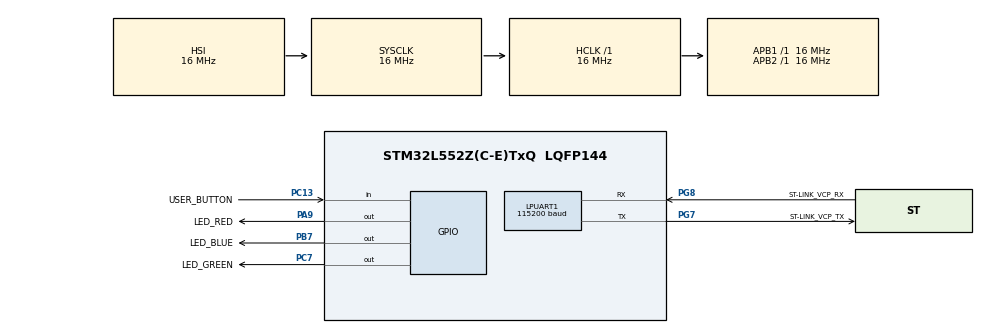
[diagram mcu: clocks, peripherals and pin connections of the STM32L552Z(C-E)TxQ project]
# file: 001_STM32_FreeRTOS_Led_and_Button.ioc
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LPUART1.BaudRate=115200
Mcu.Family=STM32L5
Mcu.Name=STM32L552Z(C-E)TxQ
Mcu.Package=LQFP144
Mcu.TrustZone=disable
NVIC.PriorityGroup=NVIC_PRIORITYGROUP_3
PA13\ (JTMS/SWDIO).Mode=Trace_Asynchronous_SW
PA13\ (JTMS/SWDIO).Signal=DEBUG_JTMS-SWDIO
PA14\ (JTCK/SWCLK).Mode=Trace_Asynchronous_SW
PA14\ (JTCK/SWCLK).Signal=DEBUG_JTCK-SWCLK
PA9.GPIO_Label=LED_RED
PA9.Signal=GPIO_Output
PB3\ (JTDO/TRACESWO).Mode=Trace_Asynchronous_SW
PB3\ (JTDO/TRACESWO).Signal=DEBUG_JTDO-SWO
PB7.GPIO_Label=LED_BLUE
PB7.Signal=GPIO_Output
PC13.GPIO_Label=USER_BUTTON
PC13.Signal=GPIO_Input
PC14-OSC32_IN\ (PC14).Mode=LSE-External-Oscillator
PC14-OSC32_IN\ (PC14).Signal=RCC_OSC32_IN
PC15-OSC32_OUT\ (PC15).Mode=LSE-External-Oscillator
PC15-OSC32_OUT\ (PC15).Signal=RCC_OSC32_OUT
PC7.GPIO_Label=LED_GREEN
PC7.Signal=GPIO_Output
PG7.GPIO_Label=ST-LINK_VCP_TX
PG7.Mode=Asynchronous
PG7.Signal=LPUART1_TX
PG8.GPIO_Label=ST-LINK_VCP_RX
PG8.Mode=Asynchronous
PG8.Signal=LPUART1_RX
ProjectManager.HeapSize=0x200
ProjectManager.StackSize=0x400
ProjectManager.TargetToolchain=STM32CubeIDE
RCC.ADCCLockSelection=RCC_ADCCLKSOURCE_SYSCLK
RCC.ADCFreq_Value=16000000
RCC.AHBFreq_Value=16000000
RCC.APB1Freq_Value=16000000
RCC.APB1TimFreq_Value=16000000
RCC.APB2Freq_Value=16000000
RCC.APB2TimFreq_Value=16000000
RCC.CK48CLockSelection=RCC_USBCLKSOURCE_HSI48
RCC.CortexFreq_Value=16000000
RCC.HCLKFreq_Value=16000000
RCC.HSE_VALUE=8000000
RCC.HSI48_VALUE=48000000
RCC.HSI_VALUE=16000000
RCC.MSI_VALUE=4000000
RCC.PLLN=55
RCC.PLLSAI1N=24
RCC.RTCClockSelection=RCC_RTCCLKSOURCE_LSE
RCC.SYSCLKFreq_VALUE=16000000
RCC.SYSCLKSource=RCC_SYSCLKSOURCE_HSI
RCC.USBFreq_Value=48000000
RCC.VCOOutputFreq_Value=220000000
VP_PWR_VS_DBSignals.Mode=DisableDeadBatterySignals
VP_PWR_VS_SECSignals.Mode=Security/Privilege
board=NUCLEO-L552ZE-Q

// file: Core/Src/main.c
/* USER CODE BEGIN Header */
/**
 ******************************************************************************
 * @file           : main.c
 * @brief          : Example 001: Led and button FreeRTOS tasks with pooling
 *                   for NUCLEO-L552.
 *
 * @details TODO
 ******************************************************************************
 * @attention
 *
 * <h2><center>&copy; Copyright 2021 Leandro Medus.
 * All rights reserved.</center></h2>
 *
 * Permission is hereby granted, free of charge, to any person obtaining a copy
 * of this software and associated documentation files (the "Software"), to deal
 * in the Software without restriction, including without limitation the rights
 * to use, copy, modify, merge, publish, distribute, sublicense, and/or sell
 * copies of the Software, and to permit persons to whom the Software is
 * furnished to do so, subject to the following conditions:
 *
 * The above copyright notice and this permission notice shall be included in all
 * copies or substantial portions of the Software.
 *
 * THE SOFTWARE IS PROVIDED "AS IS", WITHOUT WARRANTY OF ANY KIND, EXPRESS OR
 * IMPLIED, INCLUDING BUT NOT LIMITED TO THE WARRANTIES OF MERCHANTABILITY,
 * FITNESS FOR A PARTICULAR PURPOSE AND NONINFRINGEMENT. IN NO EVENT SHALL THE
 * AUTHORS OR COPYRIGHT HOLDERS BE LIABLE FOR ANY CLAIM, DAMAGES OR OTHER
 * LIABILITY, WHETHER IN AN ACTION OF CONTRACT, TORT OR OTHERWISE, ARISING FROM,
 * OUT OF OR IN CONNECTION WITH THE SOFTWARE OR THE USE OR OTHER DEALINGS IN THE
 * SOFTWARE.
 *
 ******************************************************************************
 */

/*
 * Other useful functions:
 *
 *      SEGGER_SYSVIEW_PrintfTarget("Task-1 is yielding");
 *      snprintf(msg, 100, "%s\n", (char*)parameters);
 *      sendString(msg);
 *      traceISR_EXIT_TO_SCHEDULER();
 *      taskYIELD();

 * */

/* USER CODE END Header */
#include "main.h"

/* USER CODE BEGIN Includes */
#include "FreeRTOS.h"
#include "task.h"
#include <stdio.h>
#include <string.h>
/* USER CODE END Includes */

/* USER CODE BEGIN PTD */
#define TRUE            1
#define FALSE           0

#define AVAILABLE       TRUE
#define NOT_AVAILABLE   FALSE

#define PRESSED         TRUE
#define NOT_PRESSED     FALSE

#define DWT_CTRL    (*(volatile uint32_t*)0xE0001000)       /* Data Watchpoint and Trace Unit */
/* USER CODE END PTD */

UART_HandleTypeDef hlpuart1;

/* USER CODE BEGIN PV */
char usr_msg[250];
uint8_t UART_ACCESS_KEY = AVAILABLE;

uint8_t button_status_flag = NOT_PRESSED;
/* USER CODE END PV */

void SystemClock_Config(void);
static void MX_GPIO_Init(void);
static void MX_LPUART1_UART_Init(void);
/* USER CODE BEGIN PFP */
void sendString(char *msg);
static void led_task_handler(void* parameters);
static void button_task_handler(void* parameters);
/* USER CODE END PFP */

int main(void)
{
    /* USER CODE BEGIN 1 */
    //    TaskHandle_t task1_handle;
    //    TaskHandle_t task2_handle;

    BaseType_t status;

    char msg_program_init [] = "[info] ---- Example 001: Led and button tasks using pooling ----\r\n";

    /* USER CODE END 1 */

    /* MCU Configuration--------------------------------------------------------*/

    /* Reset of all peripherals, Initializes the Flash interface and the Systick. */
    HAL_Init();

    /* Configure the system clock */
    SystemClock_Config();

    /* Initialize all configured peripherals */
    MX_GPIO_Init();
    MX_LPUART1_UART_Init();
    /* USER CODE BEGIN 2 */

    DWT_CTRL |= ( 1 << 0);                  //Enable the CYCCNT counter. (to maintain time stamps in Segger)

    sendString(msg_program_init);

    SEGGER_SYSVIEW_Conf();

    SEGGER_SYSVIEW_Start();                 // Start recording with SEGGER

    status = xTaskCreate(
            led_task_handler,               // name of the task handler
            "LED-TASK",                     // descriptive name. (Could be NULL)
            configMINIMAL_STACK_SIZE,       // stack space ([words] = 4*words [bytes])
            "LED-Task [info]",              // pvParameters
            1,                              // priority of the task
            NULL);                          // handler to the TCB (task controller block)
    //            &task1_handle);               // handler to the TCB (task controller block)

    configASSERT(status == pdPASS);

    status = xTaskCreate(
            button_task_handler,
            "BUTTON-TASK",
            configMINIMAL_STACK_SIZE,
            "BUTTON-Task [info]",
            1,
            NULL);

    configASSERT(status == pdPASS);

    vTaskStartScheduler();                  // start the freeRTOS scheduler
    /* USER CODE END 2 */

    /* Infinite loop */
    while (1)
    {

    }
}

void SystemClock_Config(void)
{
    RCC_OscInitTypeDef RCC_OscInitStruct = {0};
    RCC_ClkInitTypeDef RCC_ClkInitStruct = {0};

    /** Configure the main internal regulator output voltage
     */
    if (HAL_PWREx_ControlVoltageScaling(PWR_REGULATOR_VOLTAGE_SCALE2) != HAL_OK)
    {
        Error_Handler();
    }
    /** Initializes the RCC Oscillators according to the specified parameters
     * in the RCC_OscInitTypeDef structure.
     */
    RCC_OscInitStruct.OscillatorType = RCC_OSCILLATORTYPE_HSI;
    RCC_OscInitStruct.HSIState = RCC_HSI_ON;
    RCC_OscInitStruct.HSICalibrationValue = RCC_HSICALIBRATION_DEFAULT;
    RCC_OscInitStruct.PLL.PLLState = RCC_PLL_NONE;
    if (HAL_RCC_OscConfig(&RCC_OscInitStruct) != HAL_OK)
    {
        Error_Handler();
    }
    /** Initializes the CPU, AHB and APB buses clocks
     */
    RCC_ClkInitStruct.ClockType = RCC_CLOCKTYPE_HCLK|RCC_CLOCKTYPE_SYSCLK
            |RCC_CLOCKTYPE_PCLK1|RCC_CLOCKTYPE_PCLK2;
    RCC_ClkInitStruct.SYSCLKSource = RCC_SYSCLKSOURCE_HSI;
    RCC_ClkInitStruct.AHBCLKDivider = RCC_SYSCLK_DIV1;
    RCC_ClkInitStruct.APB1CLKDivider = RCC_HCLK_DIV1;
    RCC_ClkInitStruct.APB2CLKDivider = RCC_HCLK_DIV1;

    if (HAL_RCC_ClockConfig(&RCC_ClkInitStruct, FLASH_LATENCY_1) != HAL_OK)
    {
        Error_Handler();
    }
}

static void MX_LPUART1_UART_Init(void)
{

    hlpuart1.Instance = LPUART1;
    hlpuart1.Init.BaudRate = 115200;
    hlpuart1.Init.WordLength = UART_WORDLENGTH_8B;
    hlpuart1.Init.StopBits = UART_STOPBITS_1;
    hlpuart1.Init.Parity = UART_PARITY_NONE;
    hlpuart1.Init.Mode = UART_MODE_TX_RX;
    hlpuart1.Init.HwFlowCtl = UART_HWCONTROL_NONE;
    hlpuart1.Init.OneBitSampling = UART_ONE_BIT_SAMPLE_DISABLE;
    hlpuart1.Init.ClockPrescaler = UART_PRESCALER_DIV1;
    hlpuart1.AdvancedInit.AdvFeatureInit = UART_ADVFEATURE_NO_INIT;
    hlpuart1.FifoMode = UART_FIFOMODE_DISABLE;
    if (HAL_UART_Init(&hlpuart1) != HAL_OK)
    {
        Error_Handler();
    }
    if (HAL_UARTEx_SetTxFifoThreshold(&hlpuart1, UART_TXFIFO_THRESHOLD_1_8) != HAL_OK)
    {
        Error_Handler();
    }
    if (HAL_UARTEx_SetRxFifoThreshold(&hlpuart1, UART_RXFIFO_THRESHOLD_1_8) != HAL_OK)
    {
        Error_Handler();
    }
    if (HAL_UARTEx_DisableFifoMode(&hlpuart1) != HAL_OK)
    {
        Error_Handler();
    }

}

static void MX_GPIO_Init(void)
{
    GPIO_InitTypeDef GPIO_InitStruct = {0};

    /* GPIO Ports Clock Enable */
    __HAL_RCC_GPIOC_CLK_ENABLE();
    __HAL_RCC_GPIOG_CLK_ENABLE();
    HAL_PWREx_EnableVddIO2();
    __HAL_RCC_GPIOA_CLK_ENABLE();
    __HAL_RCC_GPIOB_CLK_ENABLE();

    /*Configure GPIO pin Output Level */
    HAL_GPIO_WritePin(LED_GREEN_GPIO_Port, LED_GREEN_Pin, GPIO_PIN_RESET);

    /*Configure GPIO pin Output Level */
    HAL_GPIO_WritePin(LED_RED_GPIO_Port, LED_RED_Pin, GPIO_PIN_RESET);

    /*Configure GPIO pin Output Level */
    HAL_GPIO_WritePin(LED_BLUE_GPIO_Port, LED_BLUE_Pin, GPIO_PIN_RESET);

    /*Configure GPIO pin : USER_BUTTON_Pin */
    GPIO_InitStruct.Pin = USER_BUTTON_Pin;
    GPIO_InitStruct.Mode = GPIO_MODE_INPUT;
    GPIO_InitStruct.Pull = GPIO_NOPULL;
    HAL_GPIO_Init(USER_BUTTON_GPIO_Port, &GPIO_InitStruct);

    /*Configure GPIO pin : LED_GREEN_Pin */
    GPIO_InitStruct.Pin = LED_GREEN_Pin;
    GPIO_InitStruct.Mode = GPIO_MODE_OUTPUT_PP;
    GPIO_InitStruct.Pull = GPIO_NOPULL;
    GPIO_InitStruct.Speed = GPIO_SPEED_FREQ_LOW;
    HAL_GPIO_Init(LED_GREEN_GPIO_Port, &GPIO_InitStruct);

    /*Configure GPIO pin : LED_RED_Pin */
    GPIO_InitStruct.Pin = LED_RED_Pin;
    GPIO_InitStruct.Mode = GPIO_MODE_OUTPUT_PP;
    GPIO_InitStruct.Pull = GPIO_NOPULL;
    GPIO_InitStruct.Speed = GPIO_SPEED_FREQ_LOW;
    HAL_GPIO_Init(LED_RED_GPIO_Port, &GPIO_InitStruct);

    /*Configure GPIO pin : LED_BLUE_Pin */
    GPIO_InitStruct.Pin = LED_BLUE_Pin;
    GPIO_InitStruct.Mode = GPIO_MODE_OUTPUT_PP;
    GPIO_InitStruct.Pull = GPIO_NOPULL;
    GPIO_InitStruct.Speed = GPIO_SPEED_FREQ_LOW;
    HAL_GPIO_Init(LED_BLUE_GPIO_Port, &GPIO_InitStruct);

}

/* USER CODE BEGIN 4 */

/* --------------------------------------------------------------------------*/

/**
 * @brief  This function send a string using the UART
 * @retval None
 */
void sendString(char *msg)
{
    sprintf(usr_msg, msg);

    // sending a string
    HAL_UART_Transmit(&hlpuart1, (uint8_t *) usr_msg, strlen(usr_msg), 100);
}

/**
 * @brief  FreeRTOS task: LED
 * @details Led Task should turn on the LED if button flag is SET, otherwise it
 * should turn off the LED.
 *
 * @retval None
 */
static void led_task_handler(void* parameters)
{

    while(1)
    {

        if(button_status_flag == PRESSED)
        {
            // turn on the green LED
            HAL_GPIO_WritePin(LED_GREEN_GPIO_Port, LED_GREEN_Pin,  GPIO_PIN_SET);
            HAL_GPIO_WritePin(LED_RED_GPIO_Port,   LED_RED_Pin,    GPIO_PIN_SET);
            HAL_GPIO_WritePin(LED_BLUE_GPIO_Port,  LED_BLUE_Pin,   GPIO_PIN_SET);

        }else
        {
            // turn off the led
            HAL_GPIO_WritePin(LED_GREEN_GPIO_Port, LED_GREEN_Pin,  GPIO_PIN_RESET);
            HAL_GPIO_WritePin(LED_RED_GPIO_Port,   LED_RED_Pin,    GPIO_PIN_RESET);
            HAL_GPIO_WritePin(LED_BLUE_GPIO_Port,  LED_BLUE_Pin,   GPIO_PIN_RESET);
        }
    }
}

/**
 * @brief  FreeRTOS task: BUTTON
 * @details Button Task should continuously poll the button status of the board
 * and if pressed it should update the flag variable.
 *
 * @retval None
 */
static void button_task_handler(void* parameters)
{

    while(1)
    {
        if(HAL_GPIO_ReadPin(USER_BUTTON_GPIO_Port, USER_BUTTON_Pin) == GPIO_PIN_SET)
        {
            // button is pressed
            button_status_flag = PRESSED;
        }else
        {
            // button is  not pressed
            button_status_flag = NOT_PRESSED;
        }
    }
}

/* --------------------------------------------------------------------------*/
/* USER CODE END 4 */

void Error_Handler(void)
{
    __disable_irq();
    while (1)
    {
    }
}

/************************ (C) COPYRIGHT STMicroelectronics *****END OF FILE****/
